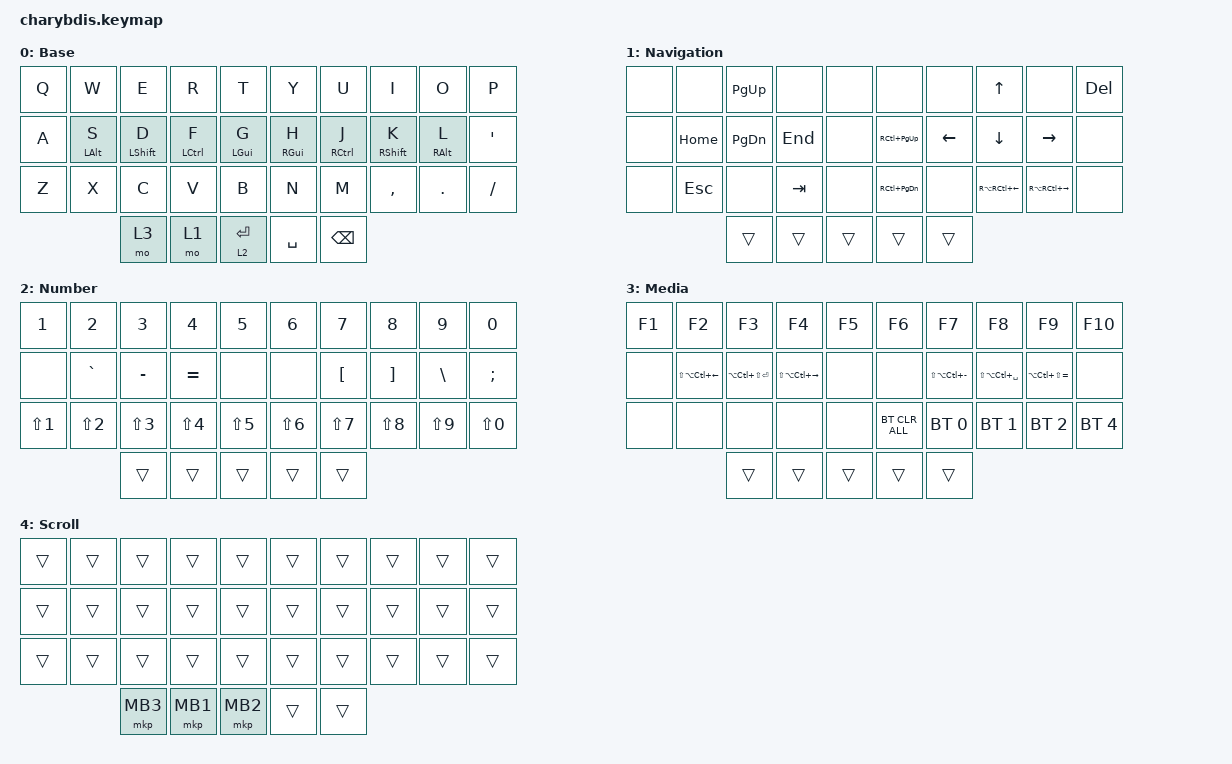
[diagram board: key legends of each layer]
#include <dt-bindings/zmk/mouse.h>
#include <behaviors/mouse_keys.dtsi>
#include <behaviors.dtsi>
#include <dt-bindings/zmk/bt.h>
#include <dt-bindings/zmk/keys.h>

#define BASE 0
#define NUFU 1
#define SYM 2
#define NAV 3
#define MED 4
#define POI 5
#define SCR 6
#define SNI 7

&sl { release-after-ms = <250>; };

&mt {
    tapping-term-ms = <200>;
    require-prior-idle-ms = <150>;
};

/ {
    chosen { zmk,matrix_transform = &default_transform; };

    #include "combos.dtsi"

    behaviors {
        hml: homewrow_mods_left {
            compatible = "zmk,behavior-hold-tap";
            label = "HOMEROW_MODS_LEFT_HAND";
            bindings = <&kp>, <&kp>;

            #binding-cells = <2>;
            tapping-term-ms = <200>;
            hold-trigger-key-positions = <5 6 7 8 9 15 16 17 18 19 25 26 27 28 29 33 34>;
            flavor = "balanced";
            quick-tap-ms = <150>;
            require-prior-idle-ms = <100>;
            hold-trigger-on-release;
        };

        hmr: homewrow_mods_right {
            compatible = "zmk,behavior-hold-tap";
            label = "HOMEROW_MODS_RIGHT_HAND";
            bindings = <&kp>, <&kp>;

            #binding-cells = <2>;
            tapping-term-ms = <200>;
            hold-trigger-key-positions = <0 1 2 3 4 10 11 12 13 14 20 21 22 23 24 30 31 32>;
            flavor = "balanced";
            quick-tap-ms = <150>;
            require-prior-idle-ms = <100>;
            hold-trigger-on-release;
        };
    };

    keymap {
        compatible = "zmk,keymap";

        Base {
            label = "Base";
            bindings = <
  &kp Q  &kp W        &kp E          &kp R         &kp T              &kp Y        &kp U          &kp I         &kp O        &kp P
  &kp A  &hml LALT S  &hml LSHIFT D  &hml LCTRL F  &hml LGUI G    &hmr RGUI H  &hmr RCTRL J   &hmr RSHIFT K  &hmr RALT L  &kp APOSTROPHE
  &kp Z  &kp X        &kp C          &kp V         &kp B              &kp N        &kp M          &kp COMMA     &kp DOT      &kp SLASH
                        &mo 3          &mo 1         &lt 2 ENTER        &kp SPACE    &kp BACKSPACE

            >;
        };

        Navigation {
            label = "Navigation";
            bindings = <
  &none  &none       &kp PAGE_UP    &none    &none    &none              &none     &kp UP_ARROW      &none              &kp DELETE
  &none  &kp HOME    &kp PAGE_DOWN  &kp END  &none    &kp RC(PAGE_UP)    &kp LEFT  &kp DOWN          &kp RIGHT          &none
  &none  &kp ESCAPE  &none          &kp TAB  &none    &kp RC(PAGE_DOWN)  &none     &kp RA(RC(LEFT))  &kp RA(RC(RIGHT))  &none
                        &trans         &trans   &trans     &trans     &trans
            >;
        };

        Number {
            label = "Number";
            bindings = <
  &kp N1  &kp N2  &kp N3  &kp N4  &kp N5                       &kp N6      &kp N7      &kp N8      &kp N9      &kp N0
  &none  &kp GRAVE  &kp MINUS  &kp EQUAL  &none    &none  &kp LEFT_BRACKET  &kp RIGHT_BRACKET  &kp BACKSLASH  &kp SEMICOLON
  &kp LS(N1)  &kp LS(N2)  &kp LS(N3)  &kp LS(N4)  &kp LS(N5)   &kp LS(N6)  &kp LS(N7)  &kp LS(N8)  &kp LS(N9)  &kp LS(N0)
                              &trans        &trans        &trans    &trans        &trans
            >;
        };

        Media {
            label = "Media";
            bindings = <
  &kp F1  &kp F2                 &kp F3                 &kp F4                 &kp F5    &kp F6          &kp F7        &kp F8        &kp F9        &kp F10
  &none   &kp LS(LA(LC(LEFT)))   &kp LA(LC(LS(ENTER)))  &kp LS(LA(LC(RIGHT)))  &none     &none           &kp LS(LA(LC(MINUS)))  &kp LS(LA(LC(SPACE)))  &kp LA(LC(LS(EQUAL)))      &none
  &none   &none  &none  &none  &none     &bt BT_CLR_ALL  &bt BT_SEL 0  &bt BT_SEL 1  &bt BT_SEL 2  &bt BT_SEL 4
                                 &trans                 &trans                 &trans    &trans          &trans
            >;
        };

        Scroll {
            bindings = <
  &trans  &trans    &trans    &trans     &trans    &trans  &trans    &trans    &trans     &trans
  &trans  &trans &trans &trans  &trans    &trans  &trans &trans &trans  &trans
  &trans  &trans    &trans    &trans     &trans    &trans  &trans    &trans    &trans     &trans
                  &mkp MB3 &mkp MB1 &mkp MB2    &trans  &trans
            >;

            label = "Scroll";
        };

    };
};
